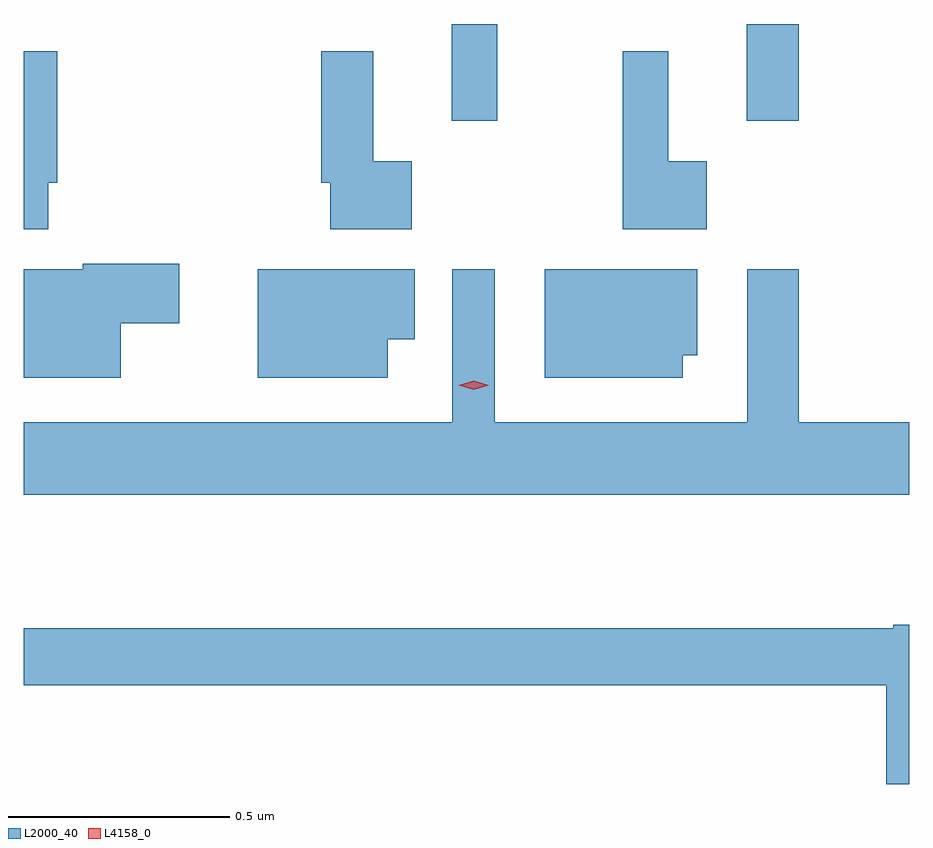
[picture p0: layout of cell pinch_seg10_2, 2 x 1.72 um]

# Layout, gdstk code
import gdstk
lib = gdstk.Library(unit=1e-6, precision=1e-09)
def R(c, l, rs):  # rectangles x0, y0, x1, y1
    for r in rs: c.add(gdstk.rectangle(r[:2], r[2:], *l))
def P(c, l, *ps):  # polygons
    for p in ps: c.add(gdstk.Polygon(p, *l))
L2000_40 = (2000, 40)
L4158_0 = (4158, 0)

pinch_seg10_2 = lib.new_cell('pinch_seg10_2')
R(pinch_seg10_2, L2000_40, [(1121.504,1262.532,1121.606,1262.751), (1122.17,1262.532,1122.287,1262.751)])
P(pinch_seg10_2, L2000_40, [(1121.413,1262.441),(1121.327,1262.441),(1121.327,1262.689),(1121.209,1262.689),(1121.209,1262.392),(1121.229,1262.392),(1121.229,1262.288),(1121.413,1262.288)],
  [(1120.593,1262.392),(1120.613,1262.392),(1120.613,1262.689),(1120.537,1262.689),(1120.537,1262.288),(1120.593,1262.288)],
  [(1122.079,1262.441),(1121.993,1262.441),(1121.993,1262.689),(1121.89,1262.689),(1121.89,1262.288),(1122.079,1262.288)],
  [(1120.756,1262.075),(1120.888,1262.075),(1120.888,1262.21),(1120.671,1262.21),(1120.671,1262.197),(1120.537,1262.197),(1120.537,1261.952),(1120.756,1261.952)],
  [(1121.505,1262.197),(1121.505,1261.852),(1120.537,1261.852),(1120.537,1261.688),(1122.537,1261.688),(1122.537,1261.852),(1122.287,1261.852),(1122.287,1262.197),(1122.171,1262.197),(1122.171,1261.852),(1121.601,1261.852),(1121.601,1262.197)],
  [(1121.359,1262.039),(1121.42,1262.039),(1121.42,1262.197),(1121.066,1262.197),(1121.066,1261.952),(1121.359,1261.952)],
  [(1122.025,1262.003),(1122.058,1262.003),(1122.058,1262.197),(1121.714,1262.197),(1121.714,1261.952),(1122.025,1261.952)],
  [(1122.537,1261.395),(1122.501,1261.395),(1122.501,1261.387),(1120.537,1261.387),(1120.537,1261.258),(1122.485,1261.258),(1122.485,1261.035),(1122.537,1261.035)])
P(pinch_seg10_2, L4158_0, [(1121.553,1261.925),(1121.52,1261.935),(1121.52,1261.935),(1121.52,1261.935),(1121.553,1261.945),(1121.587,1261.935),(1121.587,1261.935),(1121.587,1261.935)])

lib.write_gds('pinch_seg10_2.gds')
